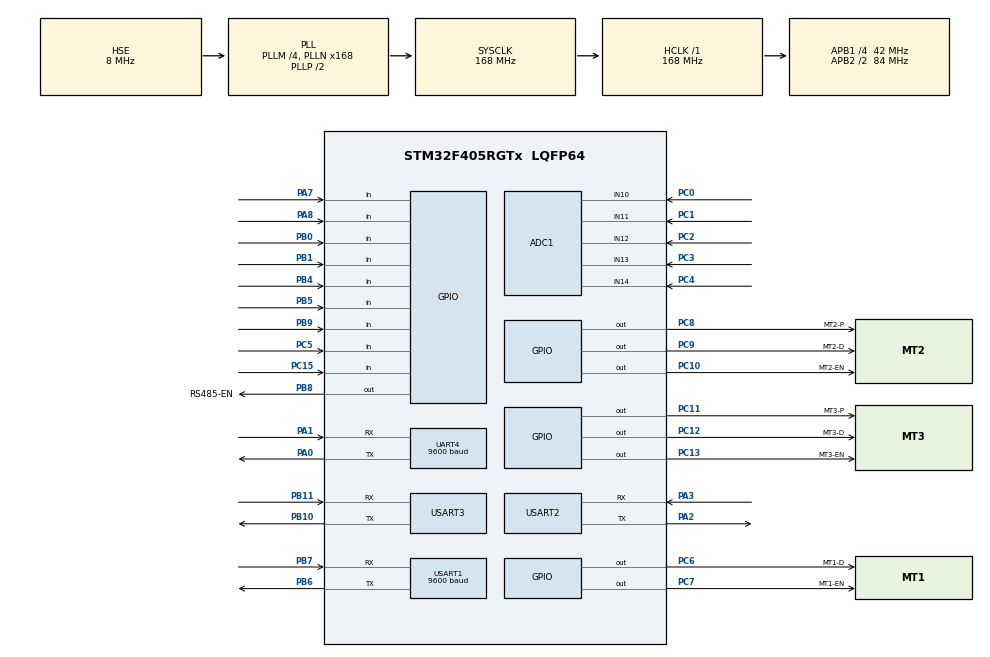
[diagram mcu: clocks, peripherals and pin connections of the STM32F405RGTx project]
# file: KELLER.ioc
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ADC1.Channel-0\#ChannelRegularConversion=ADC_CHANNEL_10
ADC1.Channel-1\#ChannelRegularConversion=ADC_CHANNEL_11
ADC1.Channel-2\#ChannelRegularConversion=ADC_CHANNEL_12
ADC1.Channel-3\#ChannelRegularConversion=ADC_CHANNEL_13
ADC1.Channel-4\#ChannelRegularConversion=ADC_CHANNEL_14
ADC1.ContinuousConvMode=ENABLE
ADC1.DMAContinuousRequests=ENABLE
ADC1.NbrOfConversion=5
ADC1.NbrOfConversionFlag=1
ADC1.Rank-0\#ChannelRegularConversion=1
ADC1.Rank-1\#ChannelRegularConversion=2
ADC1.Rank-2\#ChannelRegularConversion=3
ADC1.Rank-3\#ChannelRegularConversion=4
ADC1.Rank-4\#ChannelRegularConversion=5
ADC1.SamplingTime-0\#ChannelRegularConversion=ADC_SAMPLETIME_3CYCLES
ADC1.SamplingTime-1\#ChannelRegularConversion=ADC_SAMPLETIME_3CYCLES
ADC1.SamplingTime-2\#ChannelRegularConversion=ADC_SAMPLETIME_3CYCLES
ADC1.SamplingTime-3\#ChannelRegularConversion=ADC_SAMPLETIME_3CYCLES
ADC1.SamplingTime-4\#ChannelRegularConversion=ADC_SAMPLETIME_3CYCLES
ADC1.master=1
Dma.ADC1.4.Direction=DMA_PERIPH_TO_MEMORY
Dma.ADC1.4.FIFOMode=DMA_FIFOMODE_DISABLE
Dma.ADC1.4.Instance=DMA2_Stream0
Dma.ADC1.4.MemDataAlignment=DMA_MDATAALIGN_HALFWORD
Dma.ADC1.4.MemInc=DMA_MINC_ENABLE
Dma.ADC1.4.Mode=DMA_CIRCULAR
Dma.ADC1.4.PeriphDataAlignment=DMA_PDATAALIGN_HALFWORD
Dma.ADC1.4.PeriphInc=DMA_PINC_DISABLE
Dma.ADC1.4.Priority=DMA_PRIORITY_LOW
Dma.Request0=USART1_RX
Dma.Request1=USART3_TX
Dma.Request2=USART2_RX
Dma.Request3=UART4_RX
Dma.Request4=ADC1
Dma.UART4_RX.3.Direction=DMA_PERIPH_TO_MEMORY
Dma.UART4_RX.3.FIFOMode=DMA_FIFOMODE_DISABLE
Dma.UART4_RX.3.Instance=DMA1_Stream2
Dma.UART4_RX.3.MemDataAlignment=DMA_MDATAALIGN_BYTE
Dma.UART4_RX.3.MemInc=DMA_MINC_ENABLE
Dma.UART4_RX.3.Mode=DMA_CIRCULAR
Dma.UART4_RX.3.PeriphDataAlignment=DMA_PDATAALIGN_BYTE
Dma.UART4_RX.3.PeriphInc=DMA_PINC_DISABLE
Dma.UART4_RX.3.Priority=DMA_PRIORITY_LOW
Dma.USART1_RX.0.Direction=DMA_PERIPH_TO_MEMORY
Dma.USART1_RX.0.FIFOMode=DMA_FIFOMODE_DISABLE
Dma.USART1_RX.0.Instance=DMA2_Stream5
Dma.USART1_RX.0.MemDataAlignment=DMA_MDATAALIGN_BYTE
Dma.USART1_RX.0.MemInc=DMA_MINC_ENABLE
Dma.USART1_RX.0.Mode=DMA_CIRCULAR
Dma.USART1_RX.0.PeriphDataAlignment=DMA_PDATAALIGN_BYTE
Dma.USART1_RX.0.PeriphInc=DMA_PINC_DISABLE
Dma.USART1_RX.0.Priority=DMA_PRIORITY_LOW
Dma.USART2_RX.2.Direction=DMA_PERIPH_TO_MEMORY
Dma.USART2_RX.2.FIFOMode=DMA_FIFOMODE_DISABLE
Dma.USART2_RX.2.Instance=DMA1_Stream5
Dma.USART2_RX.2.MemDataAlignment=DMA_MDATAALIGN_BYTE
Dma.USART2_RX.2.MemInc=DMA_MINC_ENABLE
Dma.USART2_RX.2.Mode=DMA_NORMAL
Dma.USART2_RX.2.PeriphDataAlignment=DMA_PDATAALIGN_BYTE
Dma.USART2_RX.2.PeriphInc=DMA_PINC_DISABLE
Dma.USART2_RX.2.Priority=DMA_PRIORITY_LOW
Dma.USART3_TX.1.Direction=DMA_MEMORY_TO_PERIPH
Dma.USART3_TX.1.FIFOMode=DMA_FIFOMODE_DISABLE
Dma.USART3_TX.1.Instance=DMA1_Stream3
Dma.USART3_TX.1.MemDataAlignment=DMA_MDATAALIGN_BYTE
Dma.USART3_TX.1.MemInc=DMA_MINC_ENABLE
Dma.USART3_TX.1.Mode=DMA_NORMAL
Dma.USART3_TX.1.PeriphDataAlignment=DMA_PDATAALIGN_BYTE
Dma.USART3_TX.1.PeriphInc=DMA_PINC_DISABLE
Dma.USART3_TX.1.Priority=DMA_PRIORITY_LOW
Mcu.Family=STM32F4
Mcu.Name=STM32F405RGTx
Mcu.Package=LQFP64
NVIC.ADC_IRQn=true\:5\:0\:true\:false\:true\:true\:true\:true
NVIC.DMA1_Stream2_IRQn=true\:4\:0\:true\:false\:true\:false\:true\:true
NVIC.DMA1_Stream3_IRQn=true\:4\:0\:true\:false\:true\:false\:true\:true
NVIC.DMA1_Stream5_IRQn=true\:4\:0\:true\:false\:true\:false\:true\:true
NVIC.DMA2_Stream0_IRQn=true\:7\:0\:true\:false\:true\:false\:true\:true
NVIC.DMA2_Stream5_IRQn=true\:4\:0\:true\:false\:true\:false\:true\:true
NVIC.PriorityGroup=NVIC_PRIORITYGROUP_4
NVIC.TIM2_IRQn=true\:0\:0\:false\:false\:true\:true\:true\:true
NVIC.TIM3_IRQn=true\:3\:0\:true\:false\:true\:true\:true\:true
NVIC.TIM4_IRQn=true\:3\:0\:true\:false\:true\:true\:true\:true
NVIC.TIM5_IRQn=true\:0\:0\:false\:false\:true\:true\:true\:true
NVIC.TIM6_DAC_IRQn=true\:3\:0\:true\:false\:true\:true\:true\:true
NVIC.UART4_IRQn=true\:1\:0\:true\:false\:true\:true\:true\:true
NVIC.USART1_IRQn=true\:1\:0\:true\:false\:true\:true\:true\:true
NVIC.USART2_IRQn=true\:1\:0\:true\:false\:true\:true\:true\:true
NVIC.USART3_IRQn=true\:0\:0\:false\:false\:true\:true\:true\:true
PA0-WKUP.Mode=Asynchronous
PA0-WKUP.Signal=UART4_TX
PA1.Mode=Asynchronous
PA1.Signal=UART4_RX
PA13.Mode=Serial_Wire
PA13.Signal=SYS_JTMS-SWDIO
PA14.Mode=Serial_Wire
PA14.Signal=SYS_JTCK-SWCLK
PA2.Mode=Asynchronous
PA2.Signal=USART2_TX
PA3.Mode=Asynchronous
PA3.Signal=USART2_RX
PA7.Signal=GPIO_Input
PA8.Signal=GPIO_Input
PB0.Signal=GPIO_Input
PB1.Signal=GPIO_Input
PB10.Mode=Asynchronous
PB10.Signal=USART3_TX
PB11.Mode=Asynchronous
PB11.Signal=USART3_RX
PB4.Signal=GPIO_Input
PB5.Signal=GPIO_Input
PB6.Mode=Asynchronous
PB6.Signal=USART1_TX
PB7.Mode=Asynchronous
PB7.Signal=USART1_RX
PB8.GPIO_Label=RS485-EN
PB8.Signal=GPIO_Output
PB9.Signal=GPIO_Input
PC0.Signal=ADCx_IN10
PC1.Signal=ADCx_IN11
PC10.GPIO_Label=MT2-EN
PC10.Signal=GPIO_Output
PC11.GPIO_Label=MT3-P
PC11.Signal=GPIO_Output
PC12.GPIO_Label=MT3-D
PC12.Signal=GPIO_Output
PC13-ANTI_TAMP.GPIO_Label=MT3-EN
PC13-ANTI_TAMP.Signal=GPIO_Output
PC15-OSC32_OUT.Signal=GPIO_Input
PC2.Signal=ADCx_IN12
PC3.Signal=ADCx_IN13
PC4.Signal=ADCx_IN14
PC5.Signal=GPIO_Input
PC6.GPIO_Label=MT1-D
PC6.Signal=GPIO_Output
PC7.GPIO_Label=MT1-EN
PC7.Signal=GPIO_Output
PC8.GPIO_Label=MT2-P
PC8.Signal=GPIO_Output
PC9.GPIO_Label=MT2-D
PC9.Signal=GPIO_Output
PH0-OSC_IN.Mode=HSE-External-Oscillator
PH0-OSC_IN.Signal=RCC_OSC_IN
PH1-OSC_OUT.Mode=HSE-External-Oscillator
PH1-OSC_OUT.Signal=RCC_OSC_OUT
ProjectManager.HeapSize=0x200
ProjectManager.StackSize=0x400
ProjectManager.TargetToolchain=MDK-ARM V5.32
RCC.48MHZClocksFreq_Value=84000000
RCC.AHBFreq_Value=168000000
RCC.APB1CLKDivider=RCC_HCLK_DIV4
RCC.APB1Freq_Value=42000000
RCC.APB1TimFreq_Value=84000000
RCC.APB2CLKDivider=RCC_HCLK_DIV2
RCC.APB2Freq_Value=84000000
RCC.APB2TimFreq_Value=168000000
RCC.CortexFreq_Value=168000000
RCC.HCLKFreq_Value=168000000
RCC.HSE_VALUE=8000000
RCC.HSI_VALUE=16000000
RCC.LSE_VALUE=32768
RCC.PLLM=4
RCC.PLLN=168
RCC.PLLSourceVirtual=RCC_PLLSOURCE_HSE
RCC.SYSCLKFreq_VALUE=168000000
RCC.SYSCLKSource=RCC_SYSCLKSOURCE_PLLCLK
RCC.VCOOutputFreq_Value=336000000
SH.ADCx_IN10.0=ADC1_IN10,IN10
SH.ADCx_IN11.0=ADC1_IN11,IN11
SH.ADCx_IN12.0=ADC1_IN12,IN12
SH.ADCx_IN13.0=ADC1_IN13,IN13
SH.ADCx_IN14.0=ADC1_IN14,IN14
TIM2.AutoReloadPreload=TIM_AUTORELOAD_PRELOAD_ENABLE
TIM2.Period=65535
TIM2.Prescaler=83
TIM3.AutoReloadPreload=TIM_AUTORELOAD_PRELOAD_ENABLE
TIM3.Period=9999
TIM3.Prescaler=8399
TIM4.AutoReloadPreload=TIM_AUTORELOAD_PRELOAD_ENABLE
TIM4.Period=9999
TIM4.Prescaler=8399
TIM5.Period=9999
TIM5.Prescaler=8399
TIM6.Period=19999
TIM6.Prescaler=8399
UART4.BaudRate=9600
UART4.VirtualMode=Asynchronous
USART1.BaudRate=9600
USART1.VirtualMode=VM_ASYNC
USART2.VirtualMode=VM_ASYNC
USART3.VirtualMode=VM_ASYNC
VP_TIM2_VS_ClockSourceINT.Mode=Internal
VP_TIM3_VS_ClockSourceINT.Mode=Internal
VP_TIM4_VS_ClockSourceINT.Mode=Internal
VP_TIM5_VS_ClockSourceINT.Mode=Internal
VP_TIM6_VS_ClockSourceINT.Mode=Enable_Timer
board=custom

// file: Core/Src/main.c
/* USER CODE BEGIN Header */
/**
  ******************************************************************************
  * @file           : main.c
  * @brief          : Main program body
  ******************************************************************************
  * @attention
  *
  * Copyright (c) 2024 STMicroelectronics.
  * All rights reserved.
  *
  * This software is licensed under terms that can be found in the LICENSE file
  * in the root directory of this software component.
  * If no LICENSE file comes with this software, it is provided AS-IS.
  *
  ******************************************************************************
  */
/* USER CODE END Header */
#include "main.h"
#include "adc.h"
#include "dma.h"
#include "tim.h"
#include "ds.h"
#include "usart.h"
#include "gpio.h"

/* USER CODE BEGIN Includes */
    #include "DHT11.h"
    #include "motor.h"
    #include "Keller.h"
    #include "gps.h"
    #include "JY901.h"
    #include "JY931.h"
    #include "stm32f4xx_hal.h"
    #include <string.h>
    #include <stdio.h>
    #include <stdbool.h>
    #include "Switch.h"

	int closed_switch_count = 0;  // 定义全局变量

/* USER CODE END Includes */
volatile uint8_t adc_dma_complete = 0;
volatile uint8_t dht11_1_updated = 0;
volatile uint8_t dht11_2_updated = 0;
float pitch, roll, yaw;
volatile uint32_t timer_ticks = 0;
extern volatile bool usart2_rx_complete;
uint8_t uart_buffer[512];
volatile int motor_in_progress = 0; // 电机调平是否正在进行
volatile int delay_completed = 0;
volatile int motor_completed = 0;    // 电机调平是否完成的标志
volatile bool sensor_reading_started = false;
volatile bool pressure_sensor_triggered = false;
volatile bool gps_reading_triggered = false;
volatile bool system_enabled = false;

/* USER CODE BEGIN PTD */
typedef struct {
    // ADC数据
    unsigned short adc_values[5];
    uint8_t humi1, temp1;
    uint8_t humi2, temp2;
    // IMU姿态数据
    float pitch;
    float roll;
    float yaw;
    // GPS数据（需要添加的字段）
    GPSData gps;  // 添加 GPS 数据结构体
} SystemSensorData;

/* USER CODE END PTD */
volatile SystemSensorData system_sensor_data;

// 定义全局传感器数据变量

/* USER CODE BEGIN PV */
uint16_t adc_Value[5];
/* USER CODE END PV */

void ProcessDHT11Data(void);
void ProcessADCData(void);
void ProcessIMUData(void);
void SystemClock_Config(void);
void integrate_and_fuse_data(void);
float ds_sensor_data[NUM_FEATURES];
void calculate_svm_prob(float *features, float *probabilities);
void OutputGpsData(void);
//void check_sensor_stability_and_restart_motor(void);

/* USER CODE BEGIN 0 */
extern void processGpsData(void);

/* USER CODE END 0 */

int main(void)
{
  /* USER CODE BEGIN 1 */
	uint8_t rx_buffer[50] = {0}; // 临时接收缓冲区
  MX_DMA_Init();
  /* USER CODE END 1 */

  /* MCU Configuration--------------------------------------------------------*/

  /* Reset of all peripherals, Initializes the Flash interface and the Systick. */
  HAL_Init();

  /* Configure the system clock */
  SystemClock_Config();

  /* Initialize all configured peripherals */
  MX_GPIO_Init();
  MX_DMA_Init();
  MX_USART1_UART_Init();
  MX_USART3_UART_Init();
  MX_USART2_UART_Init();
  MX_UART4_Init();
  MX_ADC1_Init();
  MX_TIM2_Init();
  MX_TIM3_Init();
  MX_TIM4_Init();
  MX_TIM5_Init();
  MX_TIM6_Init();
  /* USER CODE BEGIN 2 */
    Motor_Init();
    KellerInit();
    KellerBusStart();
    User_USART_Init(&JY931_data);
		 Motor_AdjustComplete();
    GPS_Init();
    HAL_ADC_Start_DMA(&hadc1, (uint32_t *)adc_Value, 5);
    HAL_TIM_Base_Start_IT(&htim2);
    HAL_TIM_Base_Start_IT(&htim3);
    HAL_TIM_Base_Start_IT(&htim4);
    HAL_TIM_Base_Start_IT(&htim5);
    HAL_TIM_Base_Start_IT(&htim6);
//		printf("ok1");
  /* USER CODE END 2 */

  /* Infinite loop */
  /* USER CODE BEGIN WHILE */
  extern volatile bool gps_data_ready;
extern volatile bool gps_data_processing;

    // 等待开启指令
    while (!system_enabled) {
        memset(rx_buffer,0,sizeof(rx_buffer));
        HAL_UART_Receive(&huart3, rx_buffer, sizeof(rx_buffer), 1000); // 接收数据

        // 检查是否接收到 "start" 指令
        if (strstr((char *)rx_buffer, "start") != NULL) {
            system_enabled = true; // 设置系统开启标志
            printf("System Enabled. Starting operations...\r\n");
        } else {
            printf("Waiting for 'start' command...\r\n");
        }

        HAL_Delay(500); // 控制串口监听频率
    }

while (1) {
	 if (timer_ticks >= 1 && motor_in_progress == 0)  //timer_ticks代表延时的长度，20分钟等于1200秒
        {
					HAL_Delay(100);
					if (usart2_rx_complete) {
											usart2_rx_complete = false;
											JY931_Process();
										}

            motor_in_progress = 1;   // 标记调平开始
            delay_completed = 1;     // 标记延时已完成

                pitch = JY931_data.angle.angle[0];
                roll =  JY931_data.angle.angle[1];
                yaw =   JY931_data.angle.angle[2];

            // 进入调平过程（反复启停电机）

            while (!Motor_AdjustComplete())
            {
								HAL_Delay(100);
                 if (usart2_rx_complete) {
											usart2_rx_complete = false;
											JY931_Process();
										}
                pitch = JY931_data.angle.angle[0];
                roll =  JY931_data.angle.angle[1];
                yaw =   JY931_data.angle.angle[2];
                printf("Pitch: %f, Roll: %f, Yaw: %f\r\n", pitch, roll, yaw); // 获取实时的传感器数据

                AdjustPlane(pitch, roll);            // 调整电机
                HAL_Delay(500);                      // 适当延时，模拟电机的反复启停
            }
            motor_completed = 1;  // 调平完成，标记完成
						sensor_reading_started = false;
						pressure_sensor_triggered = false;
						gps_reading_triggered = false;
        }
	if (motor_completed == 1)
         {
    // 检查水银开关闭合数量
    closed_switch_count = MercurySwitch_Check();
    printf("Closed Switch Count: %d\r\n", closed_switch_count);

    // 只有在水银开关数量大于 1 时才处理 GPS 数据
    if (!sensor_reading_started && closed_switch_count > 0) {
        // 一旦水银开关数量大于0，縤t始读取数据
        sensor_reading_started = true;
    }

    if (sensor_reading_started) {
        // 处理 GPS 数据和传感器数据

        ProcessDHT11Data();
        ProcessADCData();
        ProcessIMUData();
        integrate_and_fuse_data();
//        check_sensor_stability_and_restart_motor();
    } else {
        printf("GPS processing halted due to insufficient switch count.\r\n");
    }

//    HAL_Delay(500); // 控制循环频率
				}
				memset(rx_buffer,0,sizeof(rx_buffer));
				HAL_UART_Receive(&huart3, rx_buffer, sizeof(rx_buffer), 500); // 接收数据

        // 检查是否接收到 "start" 指令
				if (strstr((char *)rx_buffer, "start") != NULL)
				{
						motor_in_progress = 0;
						motor_completed = 0;
            printf("System ReStarting operations...\r\n");
        }
				else if (strstr((char *)rx_buffer, "stop") != NULL)
				{
          motor_completed = 0;
					printf("System Stoped!\r\n");
        }

		processGpsData();

		}

}////

void ProcessDHT11Data(void)
{
    // 处理 DHT11 传感器1 数据
    if (dht11_1_updated)
    {
        dht11_1_updated = 0;
        if (DHT11_Read_Data(GPIOB, GPIO_PIN_12, (uint8_t *)&system_sensor_data.humi1, (uint8_t *)&system_sensor_data.temp1) != 0)
        {
            system_sensor_data.humi1 = 0;
            system_sensor_data.temp1 = 0;
//            HAL_UART_Transmit(&huart3, (uint8_t *)"Failed to read DHT11 on PIN 12\r\n", 32, 1000);
        }
//        else
//        {
//            sprintf(buffer, "%d%%  %d°C\r\n", system_sensor_data.humi1, system_sensor_data.temp1);
//            HAL_UART_Transmit(&huart3, (uint8_t *)buffer, strlen(buffer), 1000);
//        }
    }

    // 处理 DHT11 传感器2 数据
    if (dht11_2_updated)
    {
        dht11_2_updated = 0;
        if (DHT11_Read_Data(GPIOB, GPIO_PIN_13, (uint8_t *)&system_sensor_data.humi2, (uint8_t *)&system_sensor_data.temp2) != 0)
        {
            system_sensor_data.humi2 = 0;
            system_sensor_data.temp2 = 0;
//            HAL_UART_Transmit(&huart3, (uint8_t *)"Failed to read DHT11 on PIN 13\r\n", 32, 1000);
        }
//        else
//        {
//            sprintf(buffer, "%d%%  %d°C\r\n", system_sensor_data.humi2, system_sensor_data.temp2);
//            HAL_UART_Transmit(&huart3, (uint8_t *)buffer, strlen(buffer), 1000);
//        }
    }
}

void ProcessADCData(void)
{
    // 如果ADC转换完成
    if (adc_dma_complete)
    {
        adc_dma_complete = 0;

        // 将ADC数据存储到 sensor_data 中
        for (int i = 0; i < 5; i++)
        {
            system_sensor_data.adc_values[i] = adc_Value[i];
        }

    }
}

void ProcessIMUData(void)
{
    // 检查串口接收是否完成
    if (usart2_rx_complete)
    {
        usart2_rx_complete = false;

        // 处理IMU数据
        JY931_Process();

        // 更新姿态数据
        system_sensor_data.pitch = JY931_getPitch();
        system_sensor_data.roll = JY931_getRoll();
        system_sensor_data.yaw = JY931_getYaw();

    }
}

void OutputGpsData(void)
{
	if (motor_in_progress == 1) {
        return; // 直接返回，不执行后续代码
    }
    char buffer[100];

    // 格式化GPS数据为字符串
    snprintf(buffer, sizeof(buffer),
             "GPS Position: Latitude: %s %c, Longitude: %s %c, Time: %s\r\n",
             system_sensor_data.gps.latitude, system_sensor_data.gps.lat_direction,
             system_sensor_data.gps.longitude, system_sensor_data.gps.lon_direction,
             system_sensor_data.gps.time);

    // 通过串口（例如 UART4）发送数据
    HAL_UART_Transmit(&huart4, (uint8_t *)buffer, strlen(buffer), 1000);
}

#define REMOVAL_THRESHOLD 3300.0   // 被拆除的阈值
#define TEMPERATURE 16.0
#define EARTHQUAKE_THRESHOLD 8.0  // 用于区分地震的阈值
#define WATER_FLOW_THRESHOLD 1.0   // 用于区分水流的阈值

void integrate_and_fuse_data(void) {
    float features[NUM_FEATURES];
    uint32_t current_time = HAL_GetTick();
    // 将系统传感器数据转化为分类器可以处理的特征数组
    features[0] = system_sensor_data.humi1;    // DHT11 传感器1湿度
    features[1] = system_sensor_data.temp1;    // DHT11 传感器1温度
    features[2] = system_sensor_data.humi2;    // DHT11 传感器2湿度
    features[3] = system_sensor_data.temp2;    // DHT11 传感器2温度
    features[4] = system_sensor_data.pitch;    // IMU Pitch
    features[5] = system_sensor_data.roll;     // IMU Roll
    features[6] = system_sensor_data.yaw;      // IMU Yaw
    features[7] = system_sensor_data.adc_values[0];  // ADC 采集的第1路
    features[8] = system_sensor_data.adc_values[1];  // ADC 采集的第2路
    features[9] = system_sensor_data.adc_values[2];  // ADC 采集的第3路
    features[10] = system_sensor_data.adc_values[3]; // ADC 采集的第4路
    features[11] = system_sensor_data.adc_values[4]; // ADC 采集的第5路

    // 生成串口输出字符串
    char buffer[200];
    int len = snprintf(buffer, sizeof(buffer),
        "Sensor Data: %.2f, %.2f, %.2f, %.2f, %.2f, %.2f, %.2f, "
        "%.2f, %.2f, %.2f, %.2f, %.2f\r\n",
        features[0], features[1], features[2], features[3], features[4], features[5], features[6],
        features[7], features[8], features[9], features[10], features[11]);

    // 通过串口发送数据
    printf("%s\n", buffer);  // 使用 printf 输出串口数据

		if ((double)features[7] < REMOVAL_THRESHOLD || (double)features[8] < REMOVAL_THRESHOLD) {
        printf("Warning: System has been removed!\r\n");
    }

		if ((double)features[1] > TEMPERATURE || (double)features[3] > TEMPERATURE) {
        printf("Warning: System temperature changes!\r\n");
    }
		    if ((double)features[1] > 40 || (double)features[3] > 40) {
        printf("报警: 耐压舱过温！\n");
    }

//    // 耐压舱姿态失稳报警
//    if ((double)features[4] < -5 || (double)features[4] > 5 || (double)features[5] < -5 || (double)features[5] > 5) {
//        printf("报警: 耐压舱姿态失稳！\n");
//    }

    // 耐压舱形变预警
if ((double)features[11] < 100) {
    printf("预警: 应变数据异常！\n");
} else if ((double)features[11] < 1500 || (double)features[11] > 2400) {
    printf("预警: 耐压舱形变！\n");
}

		 // 姿态数据变化判断逻辑
    static float last_pitch = 0.0;
    static float last_roll = 0.0;
    static float last_yaw = 0.0;

    // 计算当前姿态角度变化
    float pitch_change = fabs(features[4] - last_pitch);
    float roll_change = fabs(features[5] - last_roll);
    float yaw_change = fabs(features[6] - last_yaw);

		 // 更新上次的姿态角度
    last_pitch = features[4];
    last_roll = features[5];
    last_yaw = features[6];

		    // 判断是地震还是水流
    if ((double)pitch_change > EARTHQUAKE_THRESHOLD || (double)roll_change > EARTHQUAKE_THRESHOLD || (double)yaw_change > EARTHQUAKE_THRESHOLD) {
        // 如果姿态变化超过地震阈值，判断为地震
        printf("Detected: Earthquake! Pitch change: %.2f, Roll change: %.2f, Yaw change: %.2f\r\n", pitch_change, roll_change, yaw_change);
    } else if ((double)pitch_change > WATER_FLOW_THRESHOLD || (double)roll_change > WATER_FLOW_THRESHOLD || (double)yaw_change > WATER_FLOW_THRESHOLD) {
        // 如果变化在一定范围内，判断为水流
        printf("Detected: Water Flow! Pitch change: %.2f, Roll change: %.2f, Yaw change: %.2f\r\n", pitch_change, roll_change, yaw_change);
    }
}

//// 定义阈值和时间间隔
//#define MIN_CHANGE_THRESHOLD 0.5   // 姿态变化小于0.5度
//#define STABLE_PERIOD 10000         // 5秒，单位是毫秒
//#define MIN_DEPTH_CHANGE_THRESHOLD 0.001  // 深度计变化小于0.001

//// 全局变量用于记录上一次姿态和时间
//static float last_pitch = 0.0;
//static float last_roll = 0.0;
//static float last_yaw = 0.0;
//static uint32_t last_time = 0;  // 上次数据更新的时间

//extern char status;

//void check_sensor_stability_and_restart_motor(void) {
//    // 获取当前时间
//    uint32_t current_time = HAL_GetTick();

//    // 姿态数据的当前变化
//    float pitch_change = fabs(system_sensor_data.pitch - last_pitch);
//    float roll_change = fabs(system_sensor_data.roll - last_roll);
//    float yaw_change = fabs(system_sensor_data.yaw - last_yaw);

//    // 如果变化小于阈值，且时间超过设定的稳定期
//    if ((double)pitch_change < MIN_CHANGE_THRESHOLD && (double)roll_change < MIN_CHANGE_THRESHOLD && (double)yaw_change < MIN_CHANGE_THRESHOLD &&
//        (fabs(system_sensor_data.pitch) > 1 || fabs(system_sensor_data.roll) > 1)) {
//        if ((current_time - last_time > STABLE_PERIOD)) {
//            // 数据变化小，且时间超过设定的稳定期，重新启动调平
//            motor_in_progress = 0;  // 重置标志位
//            delay_completed = 1;    // 标记延时已完成
//        }
//    } else {
//        // 如果姿态有明显变化，更新记录的数据和时间
//        last_pitch = system_sensor_data.pitch;
//        last_roll = system_sensor_data.roll;
//        last_yaw = system_sensor_data.yaw;
//        last_time = current_time;
//    }
//}

void SystemClock_Config(void)
	{
  RCC_OscInitTypeDef RCC_OscInitStruct = {0};
  RCC_ClkInitTypeDef RCC_ClkInitStruct = {0};

  /** Configure the main internal regulator output voltage
  */
  __HAL_RCC_PWR_CLK_ENABLE();
  __HAL_PWR_VOLTAGESCALING_CONFIG(PWR_REGULATOR_VOLTAGE_SCALE1);

  /** Initializes the RCC Oscillators according to the specified parameters
  * in the RCC_OscInitTypeDef structure.
  */
  RCC_OscInitStruct.OscillatorType = RCC_OSCILLATORTYPE_HSE;
  RCC_OscInitStruct.HSEState = RCC_HSE_ON;
  RCC_OscInitStruct.PLL.PLLState = RCC_PLL_ON;
  RCC_OscInitStruct.PLL.PLLSource = RCC_PLLSOURCE_HSE;
  RCC_OscInitStruct.PLL.PLLM = 4;
  RCC_OscInitStruct.PLL.PLLN = 168;
  RCC_OscInitStruct.PLL.PLLP = RCC_PLLP_DIV2;
  RCC_OscInitStruct.PLL.PLLQ = 4;
  if (HAL_RCC_OscConfig(&RCC_OscInitStruct) != HAL_OK)
  {
    Error_Handler();
  }

  /** Initializes the CPU, AHB and APB buses clocks
  */
  RCC_ClkInitStruct.ClockType = RCC_CLOCKTYPE_HCLK|RCC_CLOCKTYPE_SYSCLK
                              |RCC_CLOCKTYPE_PCLK1|RCC_CLOCKTYPE_PCLK2;
  RCC_ClkInitStruct.SYSCLKSource = RCC_SYSCLKSOURCE_PLLCLK;
  RCC_ClkInitStruct.AHBCLKDivider = RCC_SYSCLK_DIV1;
  RCC_ClkInitStruct.APB1CLKDivider = RCC_HCLK_DIV4;
  RCC_ClkInitStruct.APB2CLKDivider = RCC_HCLK_DIV2;

  if (HAL_RCC_ClockConfig(&RCC_ClkInitStruct, FLASH_LATENCY_5) != HAL_OK)
  {
    Error_Handler();
  }
}

/* USER CODE BEGIN 4 */
int fputc(int c,FILE *stream)  //重写printf函数
{
		HAL_UART_Transmit(&huart3,(unsigned char *)&c,1,1000);
		return 1;
}
/* USER CODE END 4 */

void Error_Handler(void)
{
  __disable_irq();
  while (1)
  {
  }
}
